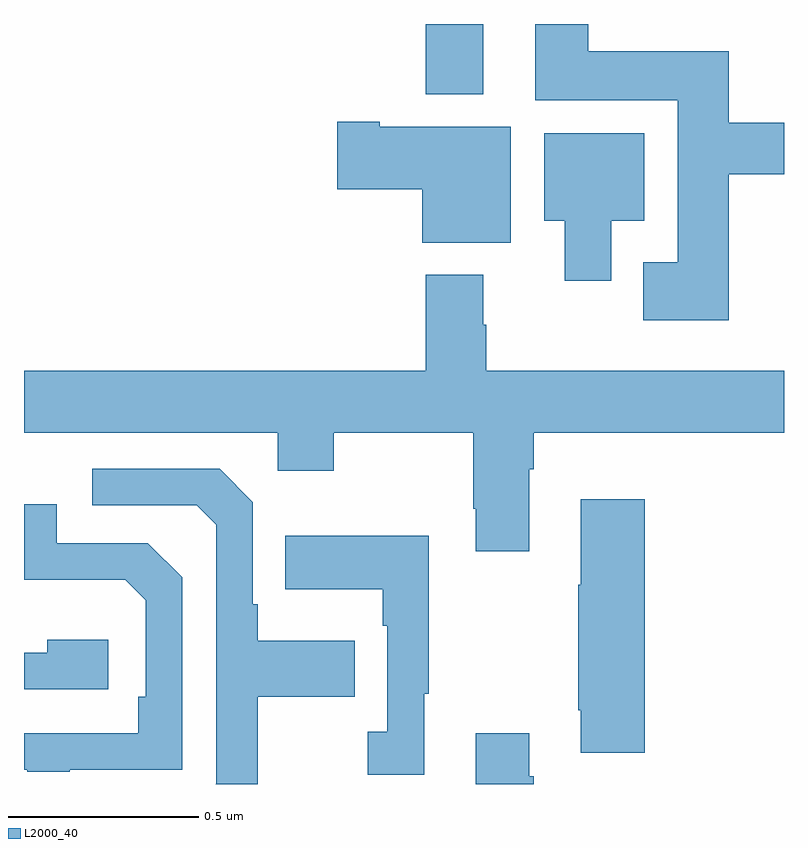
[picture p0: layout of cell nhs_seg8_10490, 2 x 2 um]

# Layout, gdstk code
import gdstk
lib = gdstk.Library(unit=1e-6, precision=1e-09)
def R(c, l, rs):  # rectangles x0, y0, x1, y1
    for r in rs: c.add(gdstk.rectangle(r[:2], r[2:], *l))
def P(c, l, *ps):  # polygons
    for p in ps: c.add(gdstk.Polygon(p, *l))
L2000_40 = (2000, 40)

nhs_seg8_10490 = lib.new_cell('nhs_seg8_10490')
R(nhs_seg8_10490, L2000_40, [(251.057,1126.715,251.209,1126.9)])
P(nhs_seg8_10490, L2000_40, [(251.855,1126.504),(252,1126.504),(252,1126.64),(251.855,1126.64),(251.855,1126.828),(251.485,1126.828),(251.485,1126.9),(251.345,1126.9),(251.345,1126.7),(251.72,1126.7),(251.72,1126.273),(251.63,1126.273),(251.63,1126.121),(251.855,1126.121)],
  [(251.281,1126.63),(250.936,1126.63),(250.936,1126.643),(250.824,1126.643),(250.824,1126.465),(251.048,1126.465),(251.048,1126.325),(251.281,1126.325)],
  [(251.545,1126.382),(251.632,1126.382),(251.632,1126.612),(251.369,1126.612),(251.369,1126.382),(251.423,1126.382),(251.423,1126.224),(251.545,1126.224)],
  [(251.329,1125.728),(251.342,1125.728),(251.342,1125.824),(252,1125.824),(252,1125.988),(251.217,1125.988),(251.217,1126.109),(251.209,1126.109),(251.209,1126.24),(251.057,1126.24),(251.057,1125.988),(250,1125.988),(250,1125.824),(250.668,1125.824),(250.668,1125.725),(250.815,1125.725),(250.815,1125.824),(251.182,1125.824),(251.182,1125.625),(251.189,1125.625),(251.189,1125.513),(251.329,1125.513)],
  [(250.615,1125.13),(250.871,1125.13),(250.871,1125.277),(250.615,1125.277),(250.615,1125.373),(250.602,1125.373),(250.602,1125.642),(250.515,1125.729),(250.179,1125.729),(250.179,1125.633),(250.455,1125.633),(250.506,1125.582),(250.506,1124.901),(250.505,1124.9),(250.615,1124.9)],
  [(251.633,1125.649),(251.465,1125.649),(251.465,1125.425),(251.458,1125.425),(251.458,1125.094),(251.465,1125.094),(251.465,1124.982),(251.633,1124.982)],
  [(250.121,1124.937),(250.416,1124.937),(250.416,1125.444),(250.326,1125.534),(250.086,1125.534),(250.086,1125.636),(250,1125.636),(250,1125.437),(250.267,1125.437),(250.32,1125.384),(250.32,1125.13),(250.3,1125.13),(250.3,1125.033),(250,1125.033),(250,1124.937),(250.009,1124.937),(250.009,1124.932),(250.121,1124.932)],
  [(251.053,1125.137),(251.065,1125.137),(251.065,1125.553),(250.687,1125.553),(250.687,1125.413),(250.944,1125.413),(250.944,1125.317),(250.956,1125.317),(250.956,1125.038),(250.905,1125.038),(250.905,1124.925),(251.053,1124.925)],
  [(250.222,1125.28),(250.061,1125.28),(250.061,1125.246),(250,1125.246),(250,1125.15),(250.222,1125.15)],
  [(251.342,1124.921),(251.329,1124.921),(251.329,1125.034),(251.189,1125.034),(251.189,1124.9),(251.342,1124.9)])

lib.write_gds('nhs_seg8_10490.gds')
